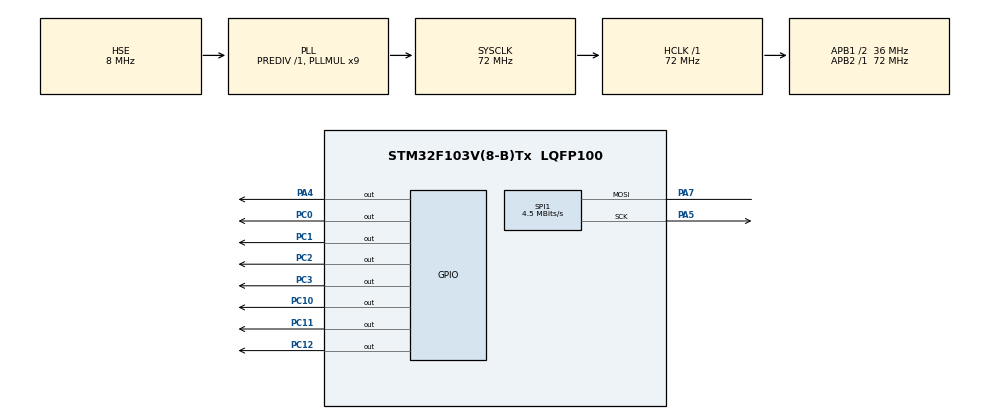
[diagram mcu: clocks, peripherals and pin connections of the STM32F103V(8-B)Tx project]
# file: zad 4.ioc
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Mcu.Family=STM32F1
Mcu.Name=STM32F103V(8-B)Tx
Mcu.Package=LQFP100
NVIC.PriorityGroup=NVIC_PRIORITYGROUP_4
OSC_IN.Mode=HSE-External-Oscillator
OSC_IN.Signal=RCC_OSC_IN
OSC_OUT.Mode=HSE-External-Oscillator
OSC_OUT.Signal=RCC_OSC_OUT
PA13.Mode=JTAG_5_pins
PA13.Signal=SYS_JTMS-SWDIO
PA14.Mode=JTAG_5_pins
PA14.Signal=SYS_JTCK-SWCLK
PA15.Mode=JTAG_5_pins
PA15.Signal=SYS_JTDI
PA4.GPIO_ModeDefaultOutputPP=GPIO_MODE_OUTPUT_OD
PA4.GPIO_PuPd=GPIO_NOPULL
PA4.GPIO_Speed=GPIO_SPEED_FREQ_MEDIUM
PA4.PinState=GPIO_PIN_SET
PA4.Signal=GPIO_Output
PA5.Mode=Simplex_Bidirectional_Master
PA5.Signal=SPI1_SCK
PA7.Mode=Simplex_Bidirectional_Master
PA7.Signal=SPI1_MOSI
PB3.Mode=JTAG_5_pins
PB3.Signal=SYS_JTDO-TRACESWO
PB4.Mode=JTAG_5_pins
PB4.Signal=SYS_NJTRST
PC0.Signal=GPIO_Output
PC1.Signal=GPIO_Output
PC10.Signal=GPIO_Output
PC11.Signal=GPIO_Output
PC12.Signal=GPIO_Output
PC14-OSC32_IN.Mode=LSE-External-Oscillator
PC14-OSC32_IN.Signal=RCC_OSC32_IN
PC15-OSC32_OUT.Mode=LSE-External-Oscillator
PC15-OSC32_OUT.Signal=RCC_OSC32_OUT
PC2.Signal=GPIO_Output
PC3.Signal=GPIO_Output
ProjectManager.HeapSize=0x200
ProjectManager.StackSize=0x400
ProjectManager.TargetToolchain=MDK-ARM V5.32
RCC.AHBFreq_Value=72000000
RCC.APB1CLKDivider=RCC_HCLK_DIV2
RCC.APB1Freq_Value=36000000
RCC.APB1TimFreq_Value=72000000
RCC.APB2Freq_Value=72000000
RCC.APB2TimFreq_Value=72000000
RCC.HCLKFreq_Value=72000000
RCC.PLLMUL=RCC_PLL_MUL9
RCC.PLLSourceVirtual=RCC_PLLSOURCE_HSE
RCC.SYSCLKFreq_VALUE=72000000
RCC.SYSCLKSource=RCC_SYSCLKSOURCE_PLLCLK
RCC.USBFreq_Value=72000000
SPI1.BaudRatePrescaler=SPI_BAUDRATEPRESCALER_16
SPI1.CalculateBaudRate=4.5 MBits/s
SPI1.DataSize=SPI_DATASIZE_16BIT
SPI1.Direction=SPI_DIRECTION_1LINE
SPI1.Mode=SPI_MODE_MASTER
SPI1.VirtualType=VM_MASTER
board=custom

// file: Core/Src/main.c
/* USER CODE BEGIN Header */
/**
  ******************************************************************************
  * @file           : main.c
  * @brief          : Main program body
  ******************************************************************************
  * @attention
  *
  * Copyright (c) 2022 STMicroelectronics.
  * All rights reserved.
  *
  * This software is licensed under terms that can be found in the LICENSE file
  * in the root directory of this software component.
  * If no LICENSE file comes with this software, it is provided AS-IS.
  *
  ******************************************************************************
  */
/* USER CODE END Header */
#include "main.h"

/* USER CODE BEGIN Includes */
#include "lcd4bit.h"
#include "stdio.h"
/* USER CODE END Includes */

 SPI_HandleTypeDef hspi1;

/* USER CODE BEGIN PV */
uint8_t TC77_temperatura[2];
uint16_t temp;
float temp_f;
char text[10];
Lcd_PortType ports[] = {GPIOC, GPIOC, GPIOC, GPIOC};
Lcd_PinType pins[] = {GPIO_PIN_3, GPIO_PIN_2, GPIO_PIN_1, GPIO_PIN_0};
Lcd_HandleTypeDef lcd;

/* USER CODE END PV */

void SystemClock_Config(void);
static void MX_GPIO_Init(void);
static void MX_SPI1_Init(void);

int main(void)
{

  /* MCU Configuration--------------------------------------------------------*/

  /* Reset of all peripherals, Initializes the Flash interface and the Systick. */
  HAL_Init();

  /* Configure the system clock */
  SystemClock_Config();

  /* Initialize all configured peripherals */
  MX_GPIO_Init();
  MX_SPI1_Init();
  /* USER CODE BEGIN 2 */
 lcd = Lcd_create(ports, pins, GPIOC, GPIO_PIN_12, GPIOC, GPIO_PIN_10, LCD_4_BIT_MODE);
  /* USER CODE END 2 */

  /* Infinite loop */
  /* USER CODE BEGIN WHILE */
  while (1)
  {
		HAL_GPIO_WritePin( GPIOA, GPIO_PIN_4, GPIO_PIN_RESET );
		HAL_SPI_Receive(&hspi1,TC77_temperatura,1,HAL_MAX_DELAY);
		HAL_GPIO_WritePin( GPIOA, GPIO_PIN_4, GPIO_PIN_SET );
		temp= (((uint16_t)TC77_temperatura[1] )<< 8 ) | ((uint16_t) TC77_temperatura[0]);
		temp_f=(temp>>3)*0.0625;
		sprintf(text,"%2.2f",temp_f);
		Lcd_cursor(&lcd, 0,0);
		Lcd_string(&lcd,"Temperature:");
		Lcd_cursor(&lcd, 1,0);
		Lcd_string(&lcd,text);
    /* USER CODE END WHILE */

  }
}

void SystemClock_Config(void)
{
  RCC_OscInitTypeDef RCC_OscInitStruct = {0};
  RCC_ClkInitTypeDef RCC_ClkInitStruct = {0};

  /** Initializes the RCC Oscillators according to the specified parameters
  * in the RCC_OscInitTypeDef structure.
  */
  RCC_OscInitStruct.OscillatorType = RCC_OSCILLATORTYPE_HSE;
  RCC_OscInitStruct.HSEState = RCC_HSE_ON;
  RCC_OscInitStruct.HSEPredivValue = RCC_HSE_PREDIV_DIV1;
  RCC_OscInitStruct.HSIState = RCC_HSI_ON;
  RCC_OscInitStruct.PLL.PLLState = RCC_PLL_ON;
  RCC_OscInitStruct.PLL.PLLSource = RCC_PLLSOURCE_HSE;
  RCC_OscInitStruct.PLL.PLLMUL = RCC_PLL_MUL9;
  if (HAL_RCC_OscConfig(&RCC_OscInitStruct) != HAL_OK)
  {
    Error_Handler();
  }

  /** Initializes the CPU, AHB and APB buses clocks
  */
  RCC_ClkInitStruct.ClockType = RCC_CLOCKTYPE_HCLK|RCC_CLOCKTYPE_SYSCLK
                              |RCC_CLOCKTYPE_PCLK1|RCC_CLOCKTYPE_PCLK2;
  RCC_ClkInitStruct.SYSCLKSource = RCC_SYSCLKSOURCE_PLLCLK;
  RCC_ClkInitStruct.AHBCLKDivider = RCC_SYSCLK_DIV1;
  RCC_ClkInitStruct.APB1CLKDivider = RCC_HCLK_DIV2;
  RCC_ClkInitStruct.APB2CLKDivider = RCC_HCLK_DIV1;

  if (HAL_RCC_ClockConfig(&RCC_ClkInitStruct, FLASH_LATENCY_2) != HAL_OK)
  {
    Error_Handler();
  }
}

static void MX_SPI1_Init(void)
{

  /* SPI1 parameter configuration*/
  hspi1.Instance = SPI1;
  hspi1.Init.Mode = SPI_MODE_MASTER;
  hspi1.Init.Direction = SPI_DIRECTION_1LINE;
  hspi1.Init.DataSize = SPI_DATASIZE_16BIT;
  hspi1.Init.CLKPolarity = SPI_POLARITY_LOW;
  hspi1.Init.CLKPhase = SPI_PHASE_1EDGE;
  hspi1.Init.NSS = SPI_NSS_SOFT;
  hspi1.Init.BaudRatePrescaler = SPI_BAUDRATEPRESCALER_16;
  hspi1.Init.FirstBit = SPI_FIRSTBIT_MSB;
  hspi1.Init.TIMode = SPI_TIMODE_DISABLE;
  hspi1.Init.CRCCalculation = SPI_CRCCALCULATION_DISABLE;
  hspi1.Init.CRCPolynomial = 10;
  if (HAL_SPI_Init(&hspi1) != HAL_OK)
  {
    Error_Handler();
  }

}

static void MX_GPIO_Init(void)
{
  GPIO_InitTypeDef GPIO_InitStruct = {0};

  /* GPIO Ports Clock Enable */
  __HAL_RCC_GPIOC_CLK_ENABLE();
  __HAL_RCC_GPIOA_CLK_ENABLE();
  __HAL_RCC_GPIOB_CLK_ENABLE();

  /*Configure GPIO pin Output Level */
  HAL_GPIO_WritePin(GPIOC, GPIO_PIN_0|GPIO_PIN_1|GPIO_PIN_2|GPIO_PIN_3
                          |GPIO_PIN_10|GPIO_PIN_11|GPIO_PIN_12, GPIO_PIN_RESET);

  /*Configure GPIO pin Output Level */
  HAL_GPIO_WritePin(GPIOA, GPIO_PIN_4, GPIO_PIN_SET);

  /*Configure GPIO pins : PC0 PC1 PC2 PC3
                           PC10 PC11 PC12 */
  GPIO_InitStruct.Pin = GPIO_PIN_0|GPIO_PIN_1|GPIO_PIN_2|GPIO_PIN_3
                          |GPIO_PIN_10|GPIO_PIN_11|GPIO_PIN_12;
  GPIO_InitStruct.Mode = GPIO_MODE_OUTPUT_PP;
  GPIO_InitStruct.Pull = GPIO_NOPULL;
  GPIO_InitStruct.Speed = GPIO_SPEED_FREQ_LOW;
  HAL_GPIO_Init(GPIOC, &GPIO_InitStruct);

  /*Configure GPIO pin : PA4 */
  GPIO_InitStruct.Pin = GPIO_PIN_4;
  GPIO_InitStruct.Mode = GPIO_MODE_OUTPUT_OD;
  GPIO_InitStruct.Pull = GPIO_NOPULL;
  GPIO_InitStruct.Speed = GPIO_SPEED_FREQ_MEDIUM;
  HAL_GPIO_Init(GPIOA, &GPIO_InitStruct);

}

void Error_Handler(void)
{
  __disable_irq();
  while (1)
  {
  }
}
